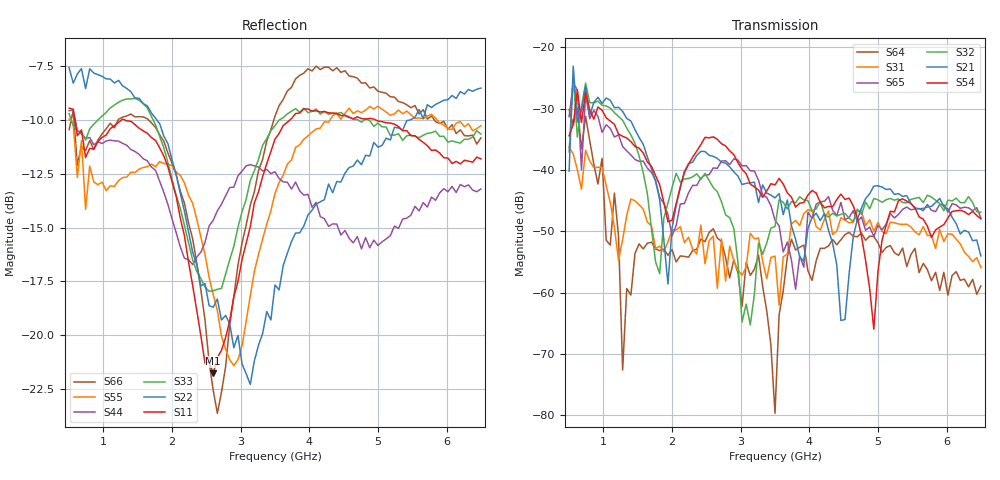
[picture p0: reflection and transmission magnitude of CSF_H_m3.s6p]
!Keysight Technologies,M9804A,MY58100912,A.14.10.03
!Date: Thursday, April 27, 2023 10:28:33
!Correction: S11(C  6-Port  )
!S12(C  6-Port  )
!S13(C  6-Port  )
!S14(C  6-Port  )
!S15(C  6-Port  )
!S16(C  6-Port  )
!S21(C  6-Port  )
!S22(C  6-Port  )
!S23(C  6-Port  )
!S24(C  6-Port  )
!S25(C  6-Port  )
!S26(C  6-Port  )
!S31(C  6-Port  )
!S32(C  6-Port  )
!S33(C  6-Port  )
!S34(C  6-Port  )
!S35(C  6-Port  )
!S36(C  6-Port  )
!S41(C  6-Port  )
!S42(C  6-Port  )
!S43(C  6-Port  )
!S44(C  6-Port  )
!S45(C  6-Port  )
!S46(C  6-Port  )
!S51(C  6-Port  )
!S52(C  6-Port  )
!S53(C  6-Port  )
!S54(C  6-Port  )
!S55(C  6-Port  )
!S56(C  6-Port  )
!S61(C  6-Port  )
!S62(C  6-Port  )
!S63(C  6-Port  )
!S64(C  6-Port  )
!S65(C  6-Port  )
!S66(C  6-Port  )
!S6P File: Measurement: :
# Hz S  RI  R 50
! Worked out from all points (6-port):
!   101 points, 500 MHz to 6.5 GHz, reference 50 ohm
!   strongest paths, dB at 500 MHz, 2 GHz, 3.5 GHz, 5 GHz, 6.5 GHz:
!     S54: -34.4, -48.2, -42.4, -56.6, -47.9
!     S21: -40.2, -49.5, -44.5, -42.6, -54.0
!     S32: -37.0, -42.9, -49.2, -44.8, -46.9
!     S65: -31.3, -50.7, -48.2, -49.0, -47.8
!     S31: -36.3, -49.8, -54.0, -48.5, -55.9
!     S64: -30.1, -53.0, -79.7, -51.9, -58.9
!   lowest |S11| = -21.8 dB at 2.6 GHz (marker M1), VSWR 1.18, Z = 42.7 + j1.94 ohm
!   |S11| at or under -10 dB: 583.8 MHz to 1.267 GHz (683.7 MHz wide, 73.9 % of centre); 1.303 GHz to 3.721 GHz (2.418 GHz wide, 96.3 % of centre); 4.962 GHz to end of sweep
